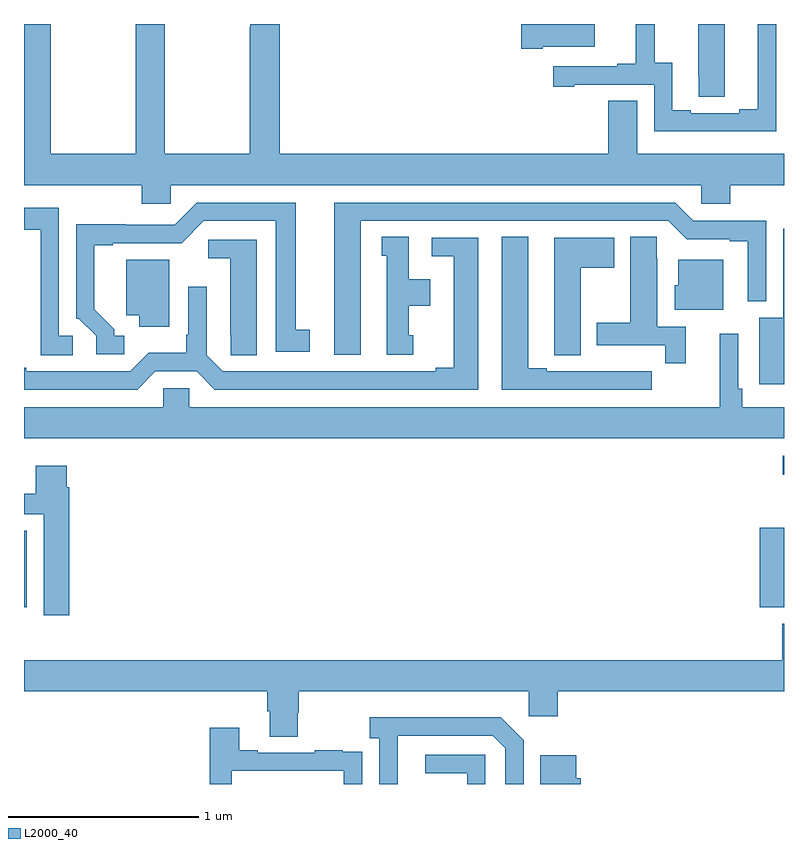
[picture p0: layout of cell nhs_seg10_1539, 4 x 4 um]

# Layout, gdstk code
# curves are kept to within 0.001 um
import gdstk
lib = gdstk.Library(unit=1e-6, precision=1e-09)
def R(c, l, rs):  # rectangles x0, y0, x1, y1
    for r in rs: c.add(gdstk.rectangle(r[:2], r[2:], *l))
def P(c, l, *ps):  # polygons
    for p in ps: c.add(gdstk.Polygon(p, *l))
L2000_40 = (2000, 40)

nhs_seg10_1539 = lib.new_cell('nhs_seg10_1539')
R(nhs_seg10_1539, L2000_40, [(191,1295.429,191.014,1295.834), (194.873,1295.429,195,1295.848), (194.994,1296.127,195,1296.228)])
P(nhs_seg10_1539, L2000_40, [(191.772,1297.652),(194.565,1297.652),(194.565,1297.554),(194.717,1297.554),(194.717,1297.652),(195,1297.652),(195,1297.816),(194.227,1297.816),(194.227,1298.096),(194.075,1298.096),(194.075,1297.816),(192.347,1297.816),(192.347,1298.5),(192.191,1298.5),(192.191,1298.483),(192.187,1298.483),(192.187,1297.816),(191.742,1297.816),(191.742,1298.5),(191.587,1298.5),(191.587,1297.816),(191.142,1297.816),(191.142,1298.5),(191,1298.5),(191,1297.652),(191.621,1297.652),(191.621,1297.554),(191.772,1297.554)],
  [(194.958,1298.5),(194.861,1298.5),(194.861,1298.051),(194.765,1298.051),(194.765,1298.031),(194.509,1298.031),(194.509,1298.046),(194.413,1298.046),(194.413,1298.297),(194.319,1298.297),(194.319,1298.5),(194.219,1298.5),(194.219,1298.29),(194.123,1298.29),(194.123,1298.277),(193.785,1298.277),(193.785,1298.169),(193.897,1298.169),(193.897,1298.181),(194.316,1298.181),(194.316,1297.935),(194.958,1297.935)],
  [(193.729,1298.381),(194.005,1298.381),(194.005,1298.5),(193.617,1298.5),(193.617,1298.369),(193.729,1298.369)],
  [(194.689,1298.5),(194.549,1298.5),(194.549,1298.224),(194.55,1298.224),(194.55,1298.116),(194.689,1298.116)],
  [(192.772,1297.464),(194.391,1297.464),(194.487,1297.368),(194.714,1297.368),(194.714,1297.356),(194.81,1297.356),(194.81,1297.04),(194.907,1297.04),(194.907,1297.464),(194.523,1297.464),(194.427,1297.56),(192.632,1297.56),(192.632,1296.759),(192.772,1296.759)],
  [(191.527,1296.858),(191.476,1296.858),(191.476,1296.893),(191.371,1296.998),(191.371,1297.335),(191.467,1297.335),(191.467,1297.347),(191.829,1297.347),(191.946,1297.464),(192.326,1297.464),(192.326,1296.774),(192.505,1296.774),(192.505,1296.89),(192.43,1296.89),(192.43,1297.56),(191.91,1297.56),(191.793,1297.443),(191.537,1297.443),(191.537,1297.445),(191.274,1297.445),(191.274,1296.948),(191.289,1296.948),(191.379,1296.858),(191.379,1296.762),(191.527,1296.762)],
  [(191.257,1296.858),(191.184,1296.858),(191.184,1297.533),(191,1297.533),(191,1297.417),(191.087,1297.417),(191.087,1296.757),(191.257,1296.757)],
  [(195,1297.423),(194.997,1297.423),(194.997,1296.955),(194.87,1296.955),(194.87,1296.603),(195,1296.603)],
  [(194.305,1296.672),(194.192,1296.672),(194.192,1296.673),(194.026,1296.673),(194.026,1296.672),(193.75,1296.672),(193.75,1296.687),(193.654,1296.687),(193.654,1297.379),(193.514,1297.379),(193.514,1296.576),(194.305,1296.576)],
  [(193.048,1296.861),(193.024,1296.861),(193.024,1297.016),(193.138,1297.016),(193.138,1297.156),(193.024,1297.156),(193.024,1297.379),(192.884,1297.379),(192.884,1297.281),(192.908,1297.281),(192.908,1296.759),(193.048,1296.759)],
  [(194.483,1296.906),(194.332,1296.906),(194.332,1297.268),(194.331,1297.268),(194.331,1297.379),(194.192,1297.379),(194.192,1296.927),(194.015,1296.927),(194.015,1296.81),(194.374,1296.81),(194.374,1296.714),(194.483,1296.714)],
  [(193.93,1297.216),(194.107,1297.216),(194.107,1297.375),(193.79,1297.375),(193.79,1296.865),(193.791,1296.865),(193.791,1296.757),(193.93,1296.757)],
  [(191.691,1296.672),(191.909,1296.672),(192.005,1296.576),(193.39,1296.576),(193.39,1297.374),(193.146,1297.374),(193.146,1297.278),(193.262,1297.278),(193.262,1296.692),(193.166,1296.692),(193.166,1296.672),(192.045,1296.672),(191.961,1296.756),(191.961,1297.117),(191.865,1297.117),(191.865,1296.865),(191.853,1296.865),(191.853,1296.769),(191.656,1296.769),(191.559,1296.672),(191.011,1296.672),(191.011,1296.692),(191,1296.692),(191,1296.576),(191.595,1296.576)],
  [(192.226,1297.365),(191.97,1297.365),(191.97,1297.268),(192.086,1297.268),(192.086,1296.865),(192.087,1296.865),(192.087,1296.757),(192.226,1296.757)],
  [(194.68,1297.258),(194.444,1297.258),(194.444,1297.125),(194.426,1297.125),(194.426,1296.995),(194.68,1296.995)],
  [(191.764,1297.258),(191.537,1297.258),(191.537,1296.968),(191.606,1296.968),(191.606,1296.906),(191.764,1296.906)],
  [(195,1296.484),(194.78,1296.484),(194.78,1296.58),(194.76,1296.58),(194.76,1296.871),(194.663,1296.871),(194.663,1296.484),(191.871,1296.484),(191.871,1296.582),(191.733,1296.582),(191.733,1296.484),(191,1296.484),(191,1296.32),(195,1296.32)],
  [(191.237,1296.062),(191.224,1296.062),(191.224,1296.175),(191.063,1296.175),(191.063,1296.028),(191,1296.028),(191,1295.919),(191.105,1295.919),(191.105,1295.388),(191.237,1295.388)],
  [(192.441,1294.875),(192.446,1294.875),(192.446,1294.988),(193.656,1294.988),(193.656,1294.857),(193.808,1294.857),(193.808,1294.988),(195,1294.988),(195,1295.344),(194.99,1295.344),(194.99,1295.152),(191,1295.152),(191,1294.988),(192.281,1294.988),(192.281,1294.882),(192.293,1294.882),(192.293,1294.75),(192.441,1294.75)],
  [(192.966,1294.555),(192.967,1294.755),(193.467,1294.755),(193.533,1294.689),(193.533,1294.5),(193.629,1294.5),(193.629,1294.731),(193.508,1294.852),(192.819,1294.852),(192.819,1294.742),(192.87,1294.742),(192.87,1294.5),(192.966,1294.5)],
  [(192.093,1294.569),(192.684,1294.569),(192.684,1294.5),(192.78,1294.5),(192.78,1294.562),(192.779,1294.562),(192.779,1294.671),(192.677,1294.671),(192.677,1294.678),(192.529,1294.678),(192.529,1294.665),(192.229,1294.665),(192.229,1294.678),(192.133,1294.678),(192.133,1294.795),(191.977,1294.795),(191.977,1294.5),(192.093,1294.5)],
  [(193.428,1294.653),(193.113,1294.653),(193.113,1294.557),(193.332,1294.557),(193.332,1294.5),(193.428,1294.5)],
  [(193.931,1294.53),(193.906,1294.53),(193.906,1294.651),(193.718,1294.651),(193.718,1294.5),(193.931,1294.5)])

lib.write_gds('nhs_seg10_1539.gds')
